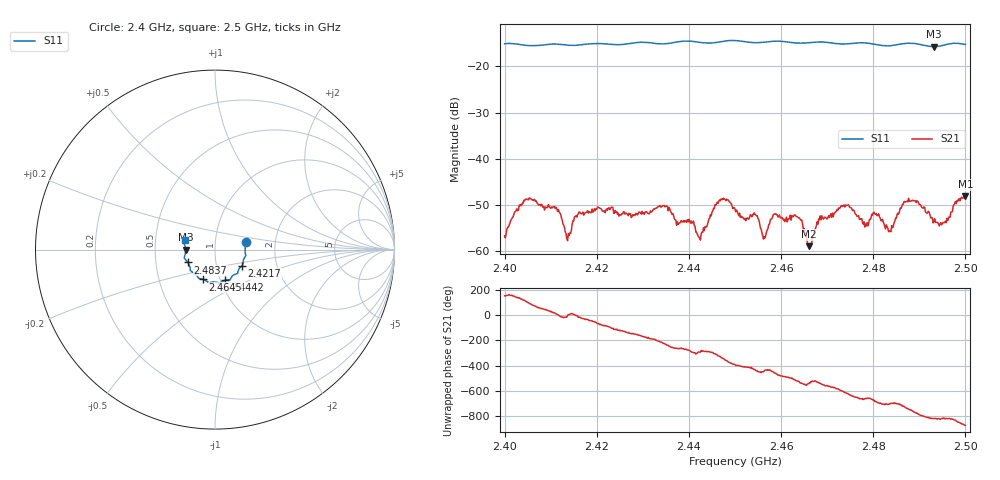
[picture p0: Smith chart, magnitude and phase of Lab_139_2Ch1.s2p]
# Hz S RI R 50
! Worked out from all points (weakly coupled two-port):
!   601 points, 2.4 GHz to 2.5 GHz, reference 50 ohm
!   highest |S21| = -48.15 dB at 2.5 GHz (marker M1); lowest = -59.0 dB at 2.466 GHz (marker M2)
!   lowest |S11| = -15.7 dB at 2.4932 GHz (marker M3), VSWR 1.39, Z = 35.9 - j0.0495 ohm
!   |S11| at or under -10 dB: start of sweep to end of sweep
!   S12 and S22 are empty: the file has one direction only
!   S11 on the Smith chart (normalised r, x): 2.4 GHz: 1.41, +0.12; 2.4217 GHz: 1.33, -0.25; 2.4442 GHz: 1.05, -0.37; 2.4645 GHz: 0.83, -0.29; 2.4837 GHz: 0.73, -0.11; 2.5 GHz: 0.71, +0.07
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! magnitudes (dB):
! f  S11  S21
! 2.4 GHz  -15.1  -56.7
! 2.405 GHz  -15.5  -48.8
! 2.4112 GHz  -15.2  -50.5
! 2.4138 GHz  -15.4  -56.2
! 2.4167 GHz  -15.3  -51.9
! 2.4217 GHz  -15.1  -51.3
! 2.4333 GHz  -15.1  -50.4
! 2.442 GHz  -14.7  -56.8
! 2.4442 GHz  -15.0  -53.7
! 2.447 GHz  -14.6  -48.8
! 2.45 GHz  -14.4  -51.0
! 2.4563 GHz  -14.8  -57.0
! 2.4587 GHz  -14.5  -52.0
! 2.4645 GHz  -15.0  -53.3
! 2.466 GHz  -14.9  -59.0
! 2.4667 GHz  -14.8  -58.2
! 2.4735 GHz  -15.1  -50.2
! 2.4833 GHz  -15.6  -55.8
! 2.4837 GHz  -15.5  -55.6
! 2.4872 GHz  -15.0  -49.3
! 2.4932 GHz  -15.7  -53.7
! 2.5 GHz  -15.2  -48.2
